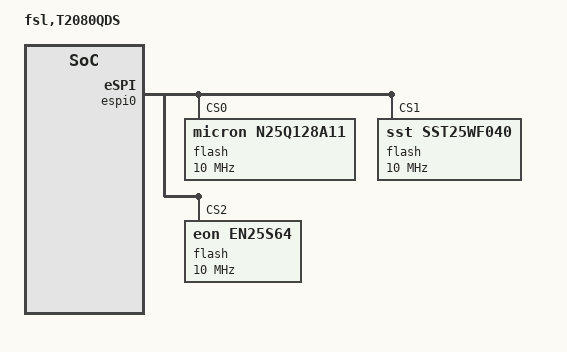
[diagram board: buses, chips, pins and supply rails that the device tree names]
// SPDX-License-Identifier: GPL-2.0+ OR X11
/*
 * T2080QDS Device Tree Source
 *
 * Copyright 2013 - 2015 Freescale Semiconductor Inc.
 * Copyright 2018 NXP
 */

/include/ "t2080.dtsi"

/ {
	model = "fsl,T2080QDS";
	compatible = "fsl,T2080QDS";
	#address-cells = <2>;
	#size-cells = <2>;
	interrupt-parent = <&mpic>;

	aliases {
		spi0 = &espi0;
	};
};

&espi0 {

	status = "okay";
	flash@0 {
		#address-cells = <1>;
		#size-cells = <1>;
		compatible = "micron,n25q128a11", "jedec,spi-nor"; /* 16MB */
		reg = <0>;
		spi-max-frequency = <10000000>;
	};

	flash@1 {
		#address-cells = <1>;
		#size-cells = <1>;
		compatible = "sst,sst25wf040", "jedec,spi-nor";
		reg = <1>;
		spi-max-frequency = <10000000>;
	};

	flash@2 {
		#address-cells = <1>;
		#size-cells = <1>;
		compatible = "eon,en25s64", "jedec,spi-nor";
		reg = <2>;
		spi-max-frequency = <10000000>;
	};

};
